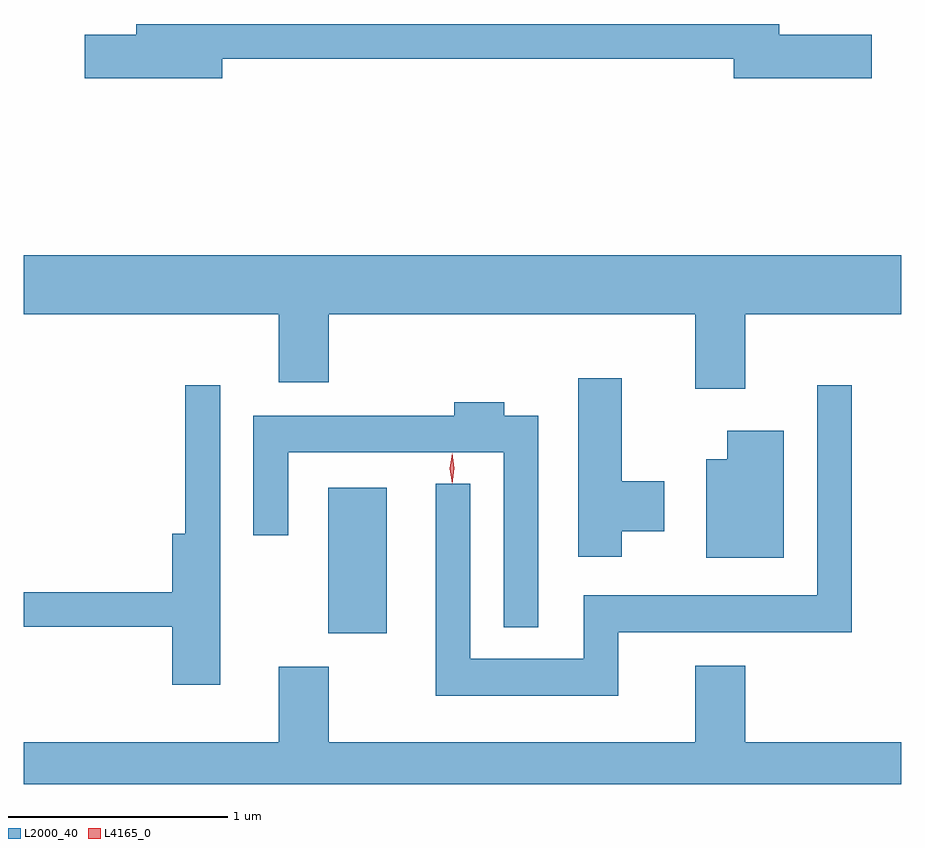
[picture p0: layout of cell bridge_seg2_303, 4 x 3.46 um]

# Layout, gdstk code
import gdstk
lib = gdstk.Library(unit=1e-6, precision=1e-09)
def R(c, l, rs):  # rectangles x0, y0, x1, y1
    for r in rs: c.add(gdstk.rectangle(r[:2], r[2:], *l))
def P(c, l, *ps):  # polygons
    for p in ps: c.add(gdstk.Polygon(p, *l))
L2000_40 = (2000, 40)
L4165_0 = (4165, 0)

bridge_seg2_303 = lib.new_cell('bridge_seg2_303')
R(bridge_seg2_303, L2000_40, [(411.366,1053.521,411.634,1054.184)])
P(bridge_seg2_303, L2000_40, [(410.884,1056.141),(413.216,1056.141),(413.216,1056.051),(413.844,1056.051),(413.844,1056.249),(413.424,1056.249),(413.424,1056.299),(410.491,1056.299),(410.491,1056.249),(410.256,1056.249),(410.256,1056.051),(410.884,1056.051)],
  [(413.269,1054.976),(413.979,1054.976),(413.979,1055.244),(409.979,1055.244),(409.979,1054.976),(411.141,1054.976),(411.141,1054.666),(411.369,1054.666),(411.369,1054.976),(413.041,1054.976),(413.041,1054.636),(413.269,1054.636)],
  [(412.704,1053.986),(412.899,1053.986),(412.899,1054.214),(412.704,1054.214),(412.704,1054.684),(412.506,1054.684),(412.506,1053.871),(412.704,1053.871)],
  [(412.689,1053.526),(413.754,1053.526),(413.754,1054.653),(413.596,1054.653),(413.596,1053.694),(412.531,1053.694),(412.531,1053.404),(412.014,1053.404),(412.014,1054.203),(411.856,1054.203),(411.856,1053.236),(412.689,1053.236)],
  [(410.874,1054.653),(410.716,1054.653),(410.716,1053.974),(410.656,1053.974),(410.656,1053.709),(409.979,1053.709),(409.979,1053.551),(410.656,1053.551),(410.656,1053.286),(410.874,1053.286)],
  [(412.324,1054.514),(412.169,1054.514),(412.169,1054.574),(411.941,1054.574),(411.941,1054.514),(411.026,1054.514),(411.026,1053.968),(411.184,1053.968),(411.184,1054.346),(412.166,1054.346),(412.166,1053.548),(412.324,1053.548)],
  [(413.444,1054.444),(413.186,1054.444),(413.186,1054.314),(413.091,1054.314),(413.091,1053.866),(413.444,1053.866)],
  [(413.979,1053.024),(413.269,1053.024),(413.269,1053.374),(413.041,1053.374),(413.041,1053.024),(411.369,1053.024),(411.369,1053.369),(411.141,1053.369),(411.141,1053.024),(409.979,1053.024),(409.979,1052.834),(413.979,1052.834)])
P(bridge_seg2_303, L4165_0, [(411.932,1054.204),(411.932,1054.204),(411.922,1054.273),(411.932,1054.342),(411.932,1054.343),(411.933,1054.342),(411.942,1054.273),(411.933,1054.204)])

lib.write_gds('bridge_seg2_303.gds')
